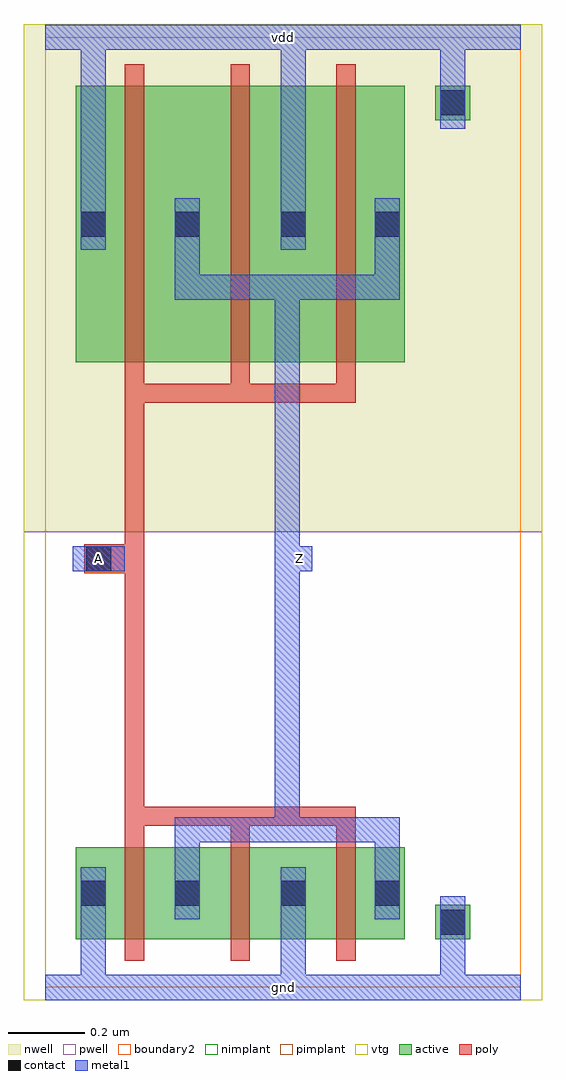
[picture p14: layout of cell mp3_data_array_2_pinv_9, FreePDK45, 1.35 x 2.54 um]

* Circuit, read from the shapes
.subckt mp3_data_array_2_pinv_9 A Z gnd vdd
M1 Z A gnd gnd nfet w=0.24u l=0.05u m=3
M2 Z A vdd vdd pfet w=0.72u l=0.05u m=3
.ends

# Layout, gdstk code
import gdstk
lib = gdstk.Library(unit=1e-6, precision=5e-10)
def R(c, l, rs):  # rectangles x0, y0, x1, y1
    for r in rs: c.add(gdstk.rectangle(r[:2], r[2:], *l))
def A(c, l, x, y, w, h, nx, ny, dx, dy):  # array of equal rectangles
    R(c, l, [(x+i*dx, y+j*dy, x+i*dx+w, y+j*dy+h) for i in range(nx) for j in range(ny)])
active = (1, 0)
pwell = (2, 0)
nwell = (3, 0)
nimplant = (4, 0)
pimplant = (5, 0)
vtg = (6, 0)
poly = (9, 0)
contact = (10, 0)
metal1 = (11, 0)
boundary2 = (239, 0)

mp3_data_array_2_contact = lib.new_cell('mp3_data_array_2_contact_11')
R(mp3_data_array_2_contact, active, [(0,0.0225,0.09,0.1125)])
R(mp3_data_array_2_contact, nwell, [(-0.055,-0.0325,0.145,0.1675)])
R(mp3_data_array_2_contact, pimplant, [(0,0.0225,0.09,0.1125)])
R(mp3_data_array_2_contact, contact, [(0.0125,0.035,0.0775,0.1)])
R(mp3_data_array_2_contact, metal1, [(0.0125,0,0.0775,0.135)])
R(mp3_data_array_2_contact, boundary2, [(-0.055,-0.0325,0.145,0.1675)])

mp3_data_array_2_pmos_m3 = lib.new_cell('mp3_data_array_2_pmos_m3_w0_720_sm1_dm1_da_p')
R(mp3_data_array_2_pmos_m3, active, [(0,0,0.855,0.72)])
R(mp3_data_array_2_pmos_m3, nwell, [(-0.08,-0.08,0.935,0.8)])
R(mp3_data_array_2_pmos_m3, pimplant, [(0,0,0.855,0.72)])
R(mp3_data_array_2_pmos_m3, vtg, [(-0.08,-0.08,0.935,0.8)])
A(mp3_data_array_2_pmos_m3, poly, 0.1275, -0.055, 0.05, 0.83, 3, 1, 0.275, 0)
R(mp3_data_array_2_pmos_m3, poly, [(0.1275,-0.105,0.7275,-0.055)])
R(mp3_data_array_2_pmos_m3, metal1, [(0.2575,0.1625,0.8425,0.2275), (0.2575,0.195,0.3225,0.36), (0.7775,0.195,0.8425,0.36), (0.0125,0.2925,0.0775,0.4275), (0.5325,0.2925,0.5975,0.4275)])
R(mp3_data_array_2_pmos_m3, boundary2, [(-0.08,-0.105,0.935,0.8)])
mp3_data_array_2_pmos_m3.add(gdstk.Reference(mp3_data_array_2_contact, (0,0.2925)))
mp3_data_array_2_pmos_m3.add(gdstk.Reference(mp3_data_array_2_contact, (0.245,0.2925)))
mp3_data_array_2_pmos_m3.add(gdstk.Reference(mp3_data_array_2_contact, (0.52,0.2925)))
mp3_data_array_2_pmos_m3.add(gdstk.Reference(mp3_data_array_2_contact, (0.765,0.2925)))
mp3_data_array_2_pmos_m3.add(gdstk.Label('G', (0.4275,-0.08), layer=9, texttype=0))
mp3_data_array_2_pmos_m3.add(gdstk.Label('S', (0.565,0.36), layer=11, texttype=0))
mp3_data_array_2_pmos_m3.add(gdstk.Label('S', (0.045,0.36), layer=11, texttype=0))
mp3_data_array_2_pmos_m3.add(gdstk.Label('D', (0.55,0.195), layer=11, texttype=0))

c_mp3_data_array_2_contact = lib.new_cell('mp3_data_array_2_contact_10')
R(c_mp3_data_array_2_contact, active, [(0,0.0225,0.09,0.1125)])
R(c_mp3_data_array_2_contact, pwell, [(-0.055,-0.0325,0.145,0.1675)])
R(c_mp3_data_array_2_contact, nimplant, [(0,0.0225,0.09,0.1125)])
R(c_mp3_data_array_2_contact, contact, [(0.0125,0.035,0.0775,0.1)])
R(c_mp3_data_array_2_contact, metal1, [(0.0125,0,0.0775,0.135)])
R(c_mp3_data_array_2_contact, boundary2, [(-0.055,-0.0325,0.145,0.1675)])

mp3_data_array_2_nmos_m3 = lib.new_cell('mp3_data_array_2_nmos_m3_w0_240_sm1_dm1_da_p')
R(mp3_data_array_2_nmos_m3, active, [(0,0,0.855,0.24)])
R(mp3_data_array_2_nmos_m3, pwell, [(-0.08,-0.08,0.935,0.32)])
R(mp3_data_array_2_nmos_m3, nimplant, [(0,0,0.855,0.24)])
R(mp3_data_array_2_nmos_m3, vtg, [(-0.08,-0.08,0.935,0.32)])
A(mp3_data_array_2_nmos_m3, poly, 0.1275, -0.055, 0.05, 0.35, 3, 1, 0.275, 0)
R(mp3_data_array_2_nmos_m3, poly, [(0.1275,0.295,0.7275,0.345)])
R(mp3_data_array_2_nmos_m3, metal1, [(0.0125,0.0525,0.0775,0.1875), (0.5325,0.0525,0.5975,0.1875), (0.2575,0.12,0.3225,0.285), (0.7775,0.12,0.8425,0.285), (0.2575,0.2525,0.8425,0.3175)])
R(mp3_data_array_2_nmos_m3, boundary2, [(-0.08,-0.08,0.935,0.345)])
mp3_data_array_2_nmos_m3.add(gdstk.Reference(c_mp3_data_array_2_contact, (0,0.0525)))
mp3_data_array_2_nmos_m3.add(gdstk.Reference(c_mp3_data_array_2_contact, (0.245,0.0525)))
mp3_data_array_2_nmos_m3.add(gdstk.Reference(c_mp3_data_array_2_contact, (0.52,0.0525)))
mp3_data_array_2_nmos_m3.add(gdstk.Reference(c_mp3_data_array_2_contact, (0.765,0.0525)))
mp3_data_array_2_nmos_m3.add(gdstk.Label('G', (0.4275,0.32), layer=9, texttype=0))
mp3_data_array_2_nmos_m3.add(gdstk.Label('S', (0.045,0.12), layer=11, texttype=0))
mp3_data_array_2_nmos_m3.add(gdstk.Label('S', (0.565,0.12), layer=11, texttype=0))
mp3_data_array_2_nmos_m3.add(gdstk.Label('D', (0.55,0.285), layer=11, texttype=0))

c_mp3_data_array_2_contact_ = lib.new_cell('mp3_data_array_2_contact_12')
R(c_mp3_data_array_2_contact_, active, [(0,0.0225,0.09,0.1125)])
R(c_mp3_data_array_2_contact_, nwell, [(-0.055,-0.0325,0.145,0.1675)])
R(c_mp3_data_array_2_contact_, nimplant, [(0,0.0225,0.09,0.1125)])
R(c_mp3_data_array_2_contact_, contact, [(0.0125,0.035,0.0775,0.1)])
R(c_mp3_data_array_2_contact_, metal1, [(0.0125,0,0.0775,0.135)])
R(c_mp3_data_array_2_contact_, boundary2, [(-0.055,-0.0325,0.145,0.1675)])

c_mp3_data_array_2_contact__ = lib.new_cell('mp3_data_array_2_contact_13')
R(c_mp3_data_array_2_contact__, active, [(0,0.0225,0.09,0.1125)])
R(c_mp3_data_array_2_contact__, pwell, [(-0.055,-0.0325,0.145,0.1675)])
R(c_mp3_data_array_2_contact__, pimplant, [(0,0.0225,0.09,0.1125)])
R(c_mp3_data_array_2_contact__, contact, [(0.0125,0.035,0.0775,0.1)])
R(c_mp3_data_array_2_contact__, metal1, [(0.0125,0,0.0775,0.135)])
R(c_mp3_data_array_2_contact__, boundary2, [(-0.055,-0.0325,0.145,0.1675)])

c_mp3_data_array_2_contact___ = lib.new_cell('mp3_data_array_2_contact_14')
R(c_mp3_data_array_2_contact___, poly, [(0.03,0,0.105,0.075)])
R(c_mp3_data_array_2_contact___, contact, [(0.035,0.005,0.1,0.07)])
R(c_mp3_data_array_2_contact___, metal1, [(0,0.005,0.135,0.07)])
R(c_mp3_data_array_2_contact___, boundary2, [(0,0,0.135,0.075)])

mp3_data_array_2_pinv_9 = lib.new_cell('mp3_data_array_2_pinv_9')
R(mp3_data_array_2_pinv_9, pwell, [(-0.055,-0.0325,1.2925,1.185)])
R(mp3_data_array_2_pinv_9, nwell, [(-0.055,1.185,1.2925,2.505)])
R(mp3_data_array_2_pinv_9, vtg, [(-0.055,-0.0325,1.2925,1.185), (-0.055,1.185,1.2925,2.505)])
R(mp3_data_array_2_pinv_9, poly, [(0.2075,0.47,0.2575,1.52), (0.14,1.0775,0.2075,1.1525)])
R(mp3_data_array_2_pinv_9, metal1, [(0,-0.0325,1.2375,0.0325), (0.0925,-0.0325,0.1575,0.1775), (0.6125,-0.0325,0.6775,0.1775), (1.0275,0,1.0925,0.17), (0.5975,0.3775,0.6625,1.8525), (0.0725,1.0825,0.2075,1.1475), (0.63,1.0825,0.695,1.1475), (0.0925,1.9175,0.1575,2.5025), (0.6125,1.9175,0.6775,2.5025), (1.0275,2.3,1.0925,2.47), (0,2.4375,1.2375,2.5025)])
R(mp3_data_array_2_pinv_9, boundary2, [(0,0,1.2375,2.47), (0,0,1.2375,2.47)])
mp3_data_array_2_pinv_9.add(gdstk.Reference(mp3_data_array_2_pmos_m3, (0.08,1.625)))
mp3_data_array_2_pinv_9.add(gdstk.Reference(mp3_data_array_2_nmos_m3, (0.08,0.125)))
mp3_data_array_2_pinv_9.add(gdstk.Reference(c_mp3_data_array_2_contact_, (1.015,2.2325)))
mp3_data_array_2_pinv_9.add(gdstk.Reference(c_mp3_data_array_2_contact__, (1.015,0.1025)))
mp3_data_array_2_pinv_9.add(gdstk.Reference(c_mp3_data_array_2_contact___, (0.0725,1.0775)))
mp3_data_array_2_pinv_9.add(gdstk.Label('A', (0.14,1.115), layer=11, texttype=0))
mp3_data_array_2_pinv_9.add(gdstk.Label('Z', (0.6625,1.115), layer=11, texttype=0))
mp3_data_array_2_pinv_9.add(gdstk.Label('gnd', (0.619,0), layer=11, texttype=0))
mp3_data_array_2_pinv_9.add(gdstk.Label('vdd', (0.619,2.47), layer=11, texttype=0))

lib.write_gds('mp3_data_array_2_pinv_9.gds')
